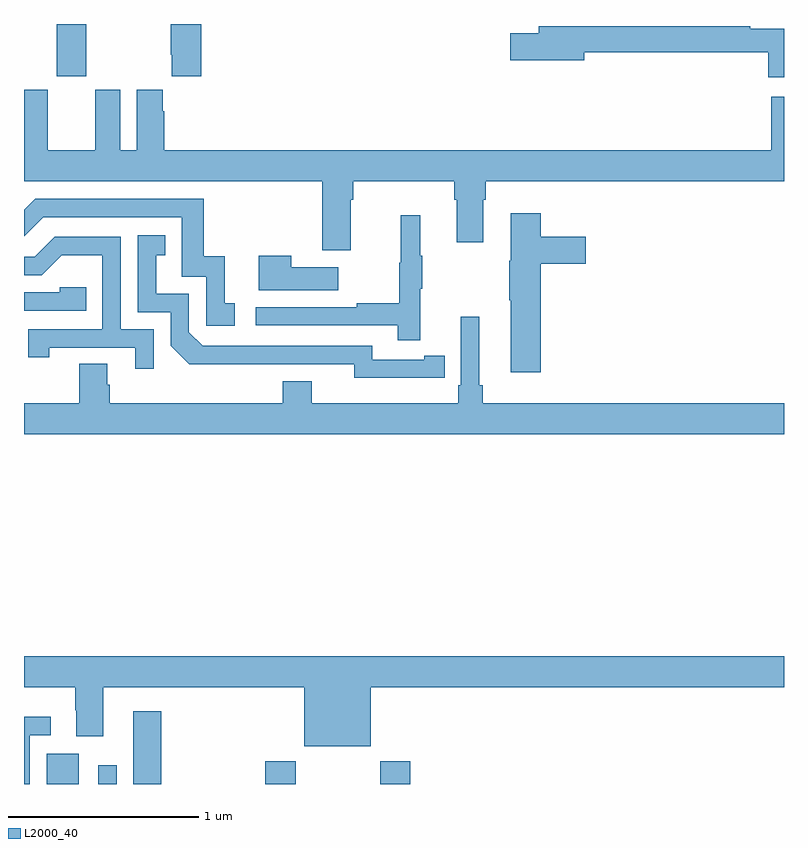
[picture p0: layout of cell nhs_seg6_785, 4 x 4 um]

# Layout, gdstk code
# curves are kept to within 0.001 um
import gdstk
lib = gdstk.Library(unit=1e-6, precision=1e-09)
def R(c, l, rs):  # rectangles x0, y0, x1, y1
    for r in rs: c.add(gdstk.rectangle(r[:2], r[2:], *l))
def P(c, l, *ps):  # polygons
    for p in ps: c.add(gdstk.Polygon(p, *l))
L2000_40 = (2000, 40)

nhs_seg6_785 = lib.new_cell('nhs_seg6_785')
R(nhs_seg6_785, L2000_40, [(161.12,941.5,161.287,941.659), (161.391,941.5,161.487,941.599), (161.576,941.5,161.723,941.884), (162.269,941.5,162.429,941.62), (162.874,941.5,163.034,941.62), (161.173,945.225,161.328,945.5)])
P(nhs_seg6_785, L2000_40, [(161.933,945.5),(161.773,945.5),(161.773,945.337),(161.777,945.337),(161.777,945.225),(161.933,945.225)],
  [(165,945.475),(164.822,945.475),(164.822,945.488),(163.709,945.488),(163.709,945.452),(163.56,945.452),(163.56,945.31),(163.948,945.31),(163.948,945.352),(164.918,945.352),(164.918,945.221),(165,945.221)],
  [(162.721,944.576),(162.734,944.576),(162.734,944.672),(163.265,944.672),(163.265,944.576),(163.277,944.576),(163.277,944.352),(163.417,944.352),(163.417,944.576),(163.43,944.576),(163.43,944.672),(165,944.672),(165,945.118),(164.934,945.118),(164.934,944.836),(161.738,944.836),(161.738,945.041),(161.731,945.041),(161.731,945.154),(161.594,945.154),(161.594,944.836),(161.506,944.836),(161.506,945.154),(161.375,945.154),(161.375,944.836),(161.125,944.836),(161.125,945.154),(161,945.154),(161,944.672),(162.569,944.672),(162.569,944.31),(162.721,944.31)],
  [(162.109,944.031),(162.056,944.031),(162.056,944.278),(161.945,944.278),(161.945,944.58),(161.058,944.58),(161,944.522),(161,944.384),(161.1,944.484),(161.829,944.484),(161.829,944.169),(161.958,944.169),(161.958,943.911),(162.109,943.911)],
  [(163.721,944.237),(163.957,944.237),(163.957,944.379),(163.721,944.379),(163.721,944.503),(163.562,944.503),(163.562,944.253),(163.555,944.253),(163.555,944.047),(163.562,944.047),(163.562,943.668),(163.721,943.668)],
  [(163.085,944.107),(163.096,944.107),(163.096,944.281),(163.085,944.281),(163.085,944.494),(162.982,944.494),(162.982,944.244),(162.975,944.244),(162.975,944.03),(162.751,944.03),(162.751,944.01),(162.219,944.01),(162.219,943.914),(162.967,943.914),(162.967,943.836),(163.085,943.836)],
  [(163.106,943.638),(163.214,943.638),(163.214,943.754),(163.106,943.754),(163.106,943.734),(162.834,943.734),(162.834,943.806),(161.94,943.806),(161.868,943.878),(161.868,944.079),(161.695,944.079),(161.695,944.283),(161.744,944.283),(161.744,944.389),(161.598,944.389),(161.598,943.983),(161.772,943.983),(161.772,943.806),(161.87,943.709),(162.738,943.71),(162.738,943.637)],
  [(161.682,943.893),(161.508,943.893),(161.508,944.379),(161.162,944.379),(161.057,944.274),(161,944.274),(161,944.178),(161.094,944.178),(161.198,944.282),(161.412,944.282),(161.412,943.893),(161.023,943.893),(161.023,943.746),(161.134,943.746),(161.134,943.797),(161.585,943.797),(161.585,943.686),(161.682,943.686)],
  [(162.655,944.221),(162.407,944.221),(162.407,944.281),(162.236,944.281),(162.236,944.099),(162.655,944.099)],
  [(161.327,944.115),(161.187,944.115),(161.187,944.088),(161,944.088),(161,943.992),(161.327,943.992)],
  [(165,943.504),(163.415,943.504),(163.415,943.6),(163.396,943.6),(163.396,943.96),(163.299,943.96),(163.299,943.6),(163.286,943.6),(163.286,943.504),(162.514,943.504),(162.514,943.621),(162.362,943.621),(162.362,943.504),(161.45,943.504),(161.45,943.602),(161.437,943.602),(161.437,943.712),(161.29,943.712),(161.29,943.504),(161,943.504),(161,943.34),(165,943.34)],
  [(162.826,942.008),(165,942.008),(165,942.172),(161,942.172),(161,942.008),(161.269,942.008),(161.269,941.888),(161.276,941.888),(161.276,941.751),(161.416,941.751),(161.416,942.008),(162.476,942.008),(162.476,941.699),(162.826,941.699)],
  [(161.031,941.757),(161.14,941.757),(161.14,941.854),(161,941.854),(161,941.5),(161.031,941.5)])

lib.write_gds('nhs_seg6_785.gds')
